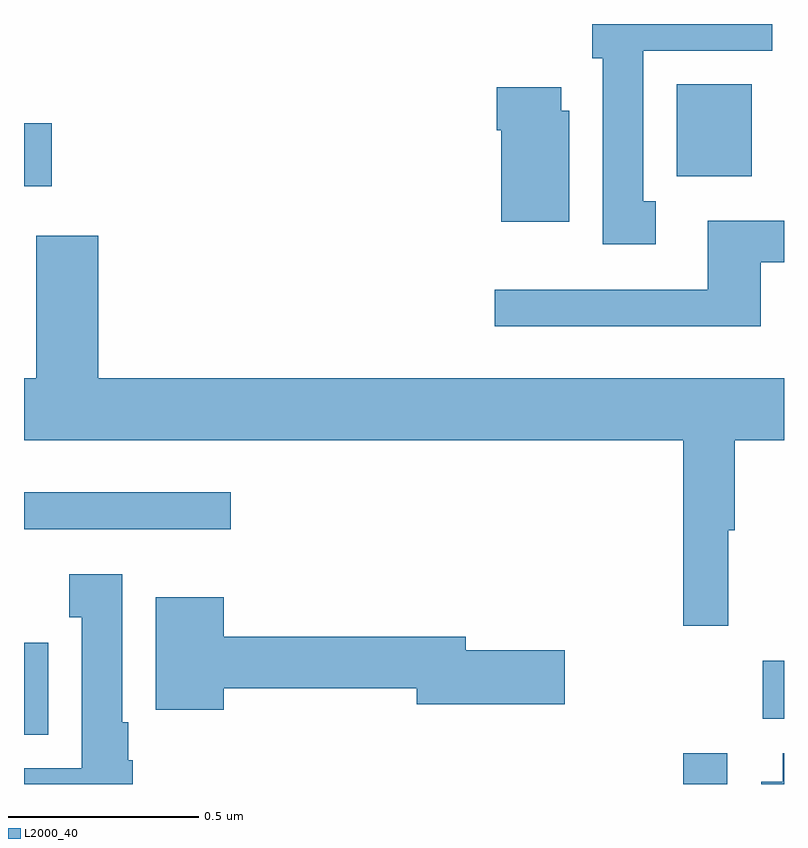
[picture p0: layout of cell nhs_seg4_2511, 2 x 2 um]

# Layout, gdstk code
import gdstk
lib = gdstk.Library(unit=1e-6, precision=1e-09)
def R(c, l, rs):  # rectangles x0, y0, x1, y1
    for r in rs: c.add(gdstk.rectangle(r[:2], r[2:], *l))
def P(c, l, *ps):  # polygons
    for p in ps: c.add(gdstk.Polygon(p, *l))
L2000_40 = (2000, 40)

nhs_seg4_2511 = lib.new_cell('nhs_seg4_2511')
R(nhs_seg4_2511, L2000_40, [(142.735,811.9,142.851,811.981), (141,812.03,141.064,812.272), (142.944,812.072,143,812.225), (141,812.571,141.544,812.668), (141,813.473,141.073,813.639), (142.718,813.5,142.915,813.742)])
P(nhs_seg4_2511, L2000_40, [(142.663,813.434),(142.63,813.434),(142.63,813.83),(142.969,813.83),(142.969,813.9),(142.496,813.9),(142.496,813.81),(142.523,813.81),(142.523,813.321),(142.663,813.321)],
  [(142.435,813.672),(142.414,813.672),(142.414,813.733),(142.244,813.733),(142.244,813.62),(142.256,813.62),(142.256,813.38),(142.435,813.38)],
  [(142.939,813.273),(143,813.273),(143,813.382),(142.799,813.382),(142.799,813.201),(142.239,813.201),(142.239,813.104),(142.939,813.104)],
  [(141.032,813.343),(141.032,812.968),(141,812.968),(141,812.804),(142.735,812.804),(142.735,812.316),(142.853,812.316),(142.853,812.568),(142.871,812.568),(142.871,812.804),(143,812.804),(143,812.968),(141.196,812.968),(141.196,813.343)],
  [(141.286,811.962),(141.274,811.962),(141.274,812.062),(141.259,812.062),(141.259,812.452),(141.119,812.452),(141.119,812.339),(141.152,812.339),(141.152,811.942),(141,811.942),(141,811.9),(141.286,811.9)],
  [(141.526,812.152),(142.034,812.152),(142.034,812.11),(142.423,812.11),(142.423,812.252),(142.162,812.252),(142.162,812.288),(141.526,812.288),(141.526,812.392),(141.347,812.392),(141.347,812.096),(141.526,812.096)],
  [(143,811.981),(142.997,811.981),(142.997,811.906),(142.94,811.906),(142.94,811.9),(143,811.9)])

lib.write_gds('nhs_seg4_2511.gds')
